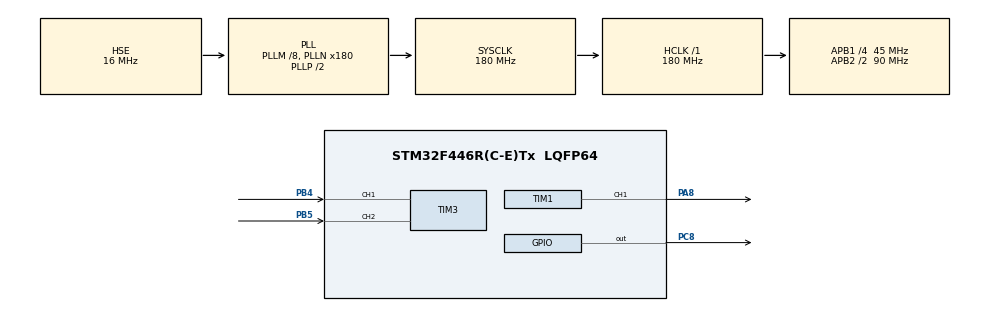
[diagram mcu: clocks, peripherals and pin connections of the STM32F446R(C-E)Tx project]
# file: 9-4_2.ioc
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Mcu.Family=STM32F4
Mcu.Name=STM32F446R(C-E)Tx
Mcu.Package=LQFP64
NVIC.PriorityGroup=NVIC_PRIORITYGROUP_4
NVIC.TIM1_BRK_TIM9_IRQn=true\:0\:0\:false\:false\:true\:true\:true\:true
NVIC.TIM1_CC_IRQn=true\:0\:0\:false\:false\:true\:true\:true\:true
NVIC.TIM1_TRG_COM_TIM11_IRQn=true\:0\:0\:false\:false\:true\:true\:true\:true
NVIC.TIM1_UP_TIM10_IRQn=true\:0\:0\:false\:false\:true\:true\:true\:true
PA13.Mode=Serial_Wire
PA13.Signal=SYS_JTMS-SWDIO
PA14.Mode=Serial_Wire
PA14.Signal=SYS_JTCK-SWCLK
PA8.Signal=S_TIM1_CH1
PB4.GPIO_PuPd=GPIO_PULLUP
PB4.Signal=S_TIM3_CH1
PB5.GPIO_PuPd=GPIO_PULLUP
PB5.Signal=S_TIM3_CH2
PC8.Signal=GPIO_Output
PH0-OSC_IN.Mode=HSE-External-Oscillator
PH0-OSC_IN.Signal=RCC_OSC_IN
PH1-OSC_OUT.Mode=HSE-External-Oscillator
PH1-OSC_OUT.Signal=RCC_OSC_OUT
ProjectManager.HeapSize=0x200
ProjectManager.StackSize=0x400
ProjectManager.TargetToolchain=STM32CubeIDE
RCC.AHBFreq_Value=180000000
RCC.APB1CLKDivider=RCC_HCLK_DIV4
RCC.APB1Freq_Value=45000000
RCC.APB1TimFreq_Value=90000000
RCC.APB2CLKDivider=RCC_HCLK_DIV2
RCC.APB2Freq_Value=90000000
RCC.APB2TimFreq_Value=180000000
RCC.CortexFreq_Value=180000000
RCC.HCLKFreq_Value=180000000
RCC.HSE_VALUE=16000000
RCC.PLLM=8
RCC.PLLN=180
RCC.PLLSourceVirtual=RCC_PLLSOURCE_HSE
RCC.SYSCLKFreq_VALUE=180000000
RCC.SYSCLKSource=RCC_SYSCLKSOURCE_PLLCLK
RCC.USBFreq_Value=180000000
RCC.VCOOutputFreq_Value=360000000
SH.S_TIM1_CH1.0=TIM1_CH1,PWM Generation1 CH1
SH.S_TIM3_CH1.0=TIM3_CH1,Encoder_Interface
SH.S_TIM3_CH2.0=TIM3_CH2,Encoder_Interface
TIM1.Channel-PWM\ Generation1\ CH1=TIM_CHANNEL_1
TIM1.Period=1000-1
TIM1.Prescaler=9-1
TIM3.EncoderMode=TIM_ENCODERMODE_TI12
TIM3.IC1Filter=5
TIM3.IC2Filter=5
board=custom

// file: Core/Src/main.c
/* USER CODE BEGIN Header */
/**
  ******************************************************************************
  * @file           : main.c
  * @brief          : Main program body
  ******************************************************************************
  * @attention
  *
  * Copyright (c) 2024 STMicroelectronics.
  * All rights reserved.
  *
  * This software is licensed under terms that can be found in the LICENSE file
  * in the root directory of this software component.
  * If no LICENSE file comes with this software, it is provided AS-IS.
  *
  ******************************************************************************
  */
/* USER CODE END Header */
#include "main.h"
#include "tim.h"
#include "gpio.h"

/* USER CODE BEGIN Includes */
  int encoder_value = 0;
  double num = 0;
/* USER CODE END Includes */

void SystemClock_Config(void);

int main(void)
{

  /* MCU Configuration--------------------------------------------------------*/

  /* Reset of all peripherals, Initializes the Flash interface and the Systick. */
  HAL_Init();

  /* Configure the system clock */
  SystemClock_Config();

  /* Initialize all configured peripherals */
  MX_GPIO_Init();
  MX_TIM1_Init();
  MX_TIM3_Init();
  /* USER CODE BEGIN 2 */
  HAL_TIM_PWM_Start(&htim1, TIM_CHANNEL_1);
  HAL_TIM_Encoder_Start(&htim3, TIM_CHANNEL_ALL);
  /* USER CODE END 2 */

  /* Infinite loop */
  while (1)
  {

    /* USER CODE BEGIN 3 */
	  num = 0;
	 if(HAL_GPIO_ReadPin(GPIOB, GPIO_PIN_12) == 1)
	 {
		 num = 0.5;
	 }
	 if(HAL_GPIO_ReadPin(GPIOB, GPIO_PIN_13) == 1)
	 	 {
	 		 num = 0.3;
	 	 }
	 if(HAL_GPIO_ReadPin(GPIOB, GPIO_PIN_14) == 1)
	 	 {
	 		 num = -0.3;
	 	 }
	 if(HAL_GPIO_ReadPin(GPIOB, GPIO_PIN_15) == 1)
	 	 {
	 		 num = -0.5;
	 	 }
	 if (num >= 0)
	 {
		 HAL_GPIO_WritePin(GPIOC, GPIO_PIN_8, SET);
		 TIM1->CCR1 = num*1000;
	 }
	 if (num < 0)
	 	 {
	 		 HAL_GPIO_WritePin(GPIOC, GPIO_PIN_8, RESET);
	 		 TIM1->CCR1 = -num*1000;
	 	 }
	 encoder_value = TIM3->CNT;
  }
  /* USER CODE END 3 */
}

void SystemClock_Config(void)
{
  RCC_OscInitTypeDef RCC_OscInitStruct = {0};
  RCC_ClkInitTypeDef RCC_ClkInitStruct = {0};

  /** Configure the main internal regulator output voltage
  */
  __HAL_RCC_PWR_CLK_ENABLE();
  __HAL_PWR_VOLTAGESCALING_CONFIG(PWR_REGULATOR_VOLTAGE_SCALE1);

  /** Initializes the RCC Oscillators according to the specified parameters
  * in the RCC_OscInitTypeDef structure.
  */
  RCC_OscInitStruct.OscillatorType = RCC_OSCILLATORTYPE_HSE;
  RCC_OscInitStruct.HSEState = RCC_HSE_ON;
  RCC_OscInitStruct.PLL.PLLState = RCC_PLL_ON;
  RCC_OscInitStruct.PLL.PLLSource = RCC_PLLSOURCE_HSE;
  RCC_OscInitStruct.PLL.PLLM = 8;
  RCC_OscInitStruct.PLL.PLLN = 180;
  RCC_OscInitStruct.PLL.PLLP = RCC_PLLP_DIV2;
  RCC_OscInitStruct.PLL.PLLQ = 2;
  RCC_OscInitStruct.PLL.PLLR = 2;
  if (HAL_RCC_OscConfig(&RCC_OscInitStruct) != HAL_OK)
  {
    Error_Handler();
  }

  /** Activate the Over-Drive mode
  */
  if (HAL_PWREx_EnableOverDrive() != HAL_OK)
  {
    Error_Handler();
  }

  /** Initializes the CPU, AHB and APB buses clocks
  */
  RCC_ClkInitStruct.ClockType = RCC_CLOCKTYPE_HCLK|RCC_CLOCKTYPE_SYSCLK
                              |RCC_CLOCKTYPE_PCLK1|RCC_CLOCKTYPE_PCLK2;
  RCC_ClkInitStruct.SYSCLKSource = RCC_SYSCLKSOURCE_PLLCLK;
  RCC_ClkInitStruct.AHBCLKDivider = RCC_SYSCLK_DIV1;
  RCC_ClkInitStruct.APB1CLKDivider = RCC_HCLK_DIV4;
  RCC_ClkInitStruct.APB2CLKDivider = RCC_HCLK_DIV2;

  if (HAL_RCC_ClockConfig(&RCC_ClkInitStruct, FLASH_LATENCY_5) != HAL_OK)
  {
    Error_Handler();
  }
}

void Error_Handler(void)
{
  __disable_irq();
  while (1)
  {
  }
}
